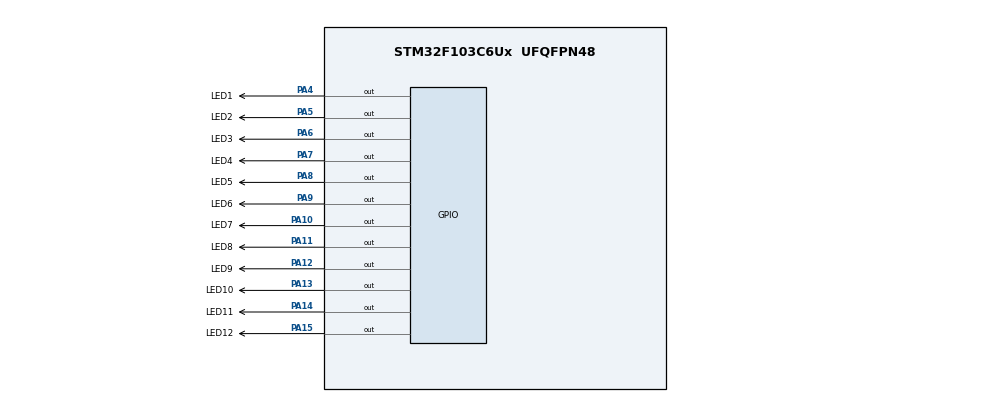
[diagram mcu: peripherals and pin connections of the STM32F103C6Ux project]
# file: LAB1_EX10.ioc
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Mcu.Family=STM32F1
Mcu.Name=STM32F103C6Ux
Mcu.Package=UFQFPN48
NVIC.PriorityGroup=NVIC_PRIORITYGROUP_4
PA10.GPIO_Label=LED7
PA10.Signal=GPIO_Output
PA11.GPIO_Label=LED8
PA11.Signal=GPIO_Output
PA12.GPIO_Label=LED9
PA12.Signal=GPIO_Output
PA13.GPIO_Label=LED10
PA13.Signal=GPIO_Output
PA14.GPIO_Label=LED11
PA14.Signal=GPIO_Output
PA15.GPIO_Label=LED12
PA15.Signal=GPIO_Output
PA4.GPIO_Label=LED1
PA4.Signal=GPIO_Output
PA5.GPIO_Label=LED2
PA5.Signal=GPIO_Output
PA6.GPIO_Label=LED3
PA6.Signal=GPIO_Output
PA7.GPIO_Label=LED4
PA7.Signal=GPIO_Output
PA8.GPIO_Label=LED5
PA8.Signal=GPIO_Output
PA9.GPIO_Label=LED6
PA9.Signal=GPIO_Output
ProjectManager.HeapSize=0x200
ProjectManager.StackSize=0x400
ProjectManager.TargetToolchain=STM32CubeIDE
RCC.APB1Freq_Value=8000000
RCC.APB2Freq_Value=8000000
VP_SYS_VS_ND.Mode=No_Debug
board=custom

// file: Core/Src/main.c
/* USER CODE BEGIN Header */
/**
  ******************************************************************************
  * @file           : main.c
  * @brief          : Main program body
  ******************************************************************************
  * @attention
  *
  * <h2><center>&copy; Copyright (c) 2024 STMicroelectronics.
  * All rights reserved.</center></h2>
  *
  * This software component is licensed by ST under BSD 3-Clause license,
  * the "License"; You may not use this file except in compliance with the
  * License. You may obtain a copy of the License at:
  *                        opensource.org/licenses/BSD-3-Clause
  *
  ******************************************************************************
  */
/* USER CODE END Header */
#include "main.h"

void SystemClock_Config(void);
static void MX_GPIO_Init(void);

int main(void)
{

  /* MCU Configuration--------------------------------------------------------*/

  /* Reset of all peripherals, Initializes the Flash interface and the Systick. */
  HAL_Init();

  /* Configure the system clock */
  SystemClock_Config();

  /* Initialize all configured peripherals */
  MX_GPIO_Init();

  /* Infinite loop */
  /* USER CODE BEGIN WHILE */
	int sec = 0;
	int min = 0;
	int hour = 0;

	void setNumberOnClock(int num) {
		if (num < 0 && num > 11)
			return;
		if (num == 1)
			HAL_GPIO_WritePin(LED1_GPIO_Port, LED1_Pin, SET);
		if (num == 2)
			HAL_GPIO_WritePin(LED2_GPIO_Port, LED2_Pin, SET);
		if (num == 3)
			HAL_GPIO_WritePin(LED3_GPIO_Port, LED3_Pin, SET);
		if (num == 4)
			HAL_GPIO_WritePin(LED4_GPIO_Port, LED4_Pin, SET);
		if (num == 5)
			HAL_GPIO_WritePin(LED5_GPIO_Port, LED5_Pin, SET);
		if (num == 6)
			HAL_GPIO_WritePin(LED6_GPIO_Port, LED6_Pin, SET);
		if (num == 7)
			HAL_GPIO_WritePin(LED7_GPIO_Port, LED7_Pin, SET);
		if (num == 8)
			HAL_GPIO_WritePin(LED8_GPIO_Port, LED8_Pin, SET);
		if (num == 9)
			HAL_GPIO_WritePin(LED9_GPIO_Port, LED9_Pin, SET);
		if (num == 10)
			HAL_GPIO_WritePin(LED10_GPIO_Port, LED10_Pin, SET);
		if (num == 11)
			HAL_GPIO_WritePin(LED11_GPIO_Port, LED11_Pin, SET);
		if (num == 0)
			HAL_GPIO_WritePin(LED12_GPIO_Port, LED12_Pin, SET);
	}

	void clearNumberOnClock(int num) {
		if (num < 0 && num > 12)
			return;
		if (num == 2)
			HAL_GPIO_WritePin(LED1_GPIO_Port, LED1_Pin, RESET);
		if (num == 3)
			HAL_GPIO_WritePin(LED2_GPIO_Port, LED2_Pin, RESET);
		if (num == 4)
			HAL_GPIO_WritePin(LED3_GPIO_Port, LED3_Pin, RESET);
		if (num == 5)
			HAL_GPIO_WritePin(LED4_GPIO_Port, LED4_Pin, RESET);
		if (num == 6)
			HAL_GPIO_WritePin(LED5_GPIO_Port, LED5_Pin, RESET);
		if (num == 7)
			HAL_GPIO_WritePin(LED6_GPIO_Port, LED6_Pin, RESET);
		if (num == 8)
			HAL_GPIO_WritePin(LED7_GPIO_Port, LED7_Pin, RESET);
		if (num == 9)
			HAL_GPIO_WritePin(LED8_GPIO_Port, LED8_Pin, RESET);
		if (num == 10)
			HAL_GPIO_WritePin(LED9_GPIO_Port, LED9_Pin, RESET);
		if (num == 11)
			HAL_GPIO_WritePin(LED10_GPIO_Port, LED10_Pin, RESET);
		if (num == 0)
			HAL_GPIO_WritePin(LED11_GPIO_Port, LED11_Pin, RESET);
		if (num == 1)
			HAL_GPIO_WritePin(LED12_GPIO_Port, LED12_Pin, RESET);
	}

  while (1)
  {
		if (hour >= 0 && hour < 13) {
			if (min >= 0 && min < 60) {
				if (sec >= 0 && sec < 60) {
					setNumberOnClock(sec / 5);
					clearNumberOnClock(sec / 5);
					sec++;
					setNumberOnClock(min / 5);
					setNumberOnClock(hour);
				} else {
					sec = 0;
					min++;
				}
			} else {
				min = 0;
				hour++;
			}
		} else {
			hour = 0;
		}
		HAL_Delay(500);

    /* USER CODE END WHILE */

  }
}

void SystemClock_Config(void)
{
  RCC_OscInitTypeDef RCC_OscInitStruct = {0};
  RCC_ClkInitTypeDef RCC_ClkInitStruct = {0};

  /** Initializes the RCC Oscillators according to the specified parameters
  * in the RCC_OscInitTypeDef structure.
  */
  RCC_OscInitStruct.OscillatorType = RCC_OSCILLATORTYPE_HSI;
  RCC_OscInitStruct.HSIState = RCC_HSI_ON;
  RCC_OscInitStruct.HSICalibrationValue = RCC_HSICALIBRATION_DEFAULT;
  RCC_OscInitStruct.PLL.PLLState = RCC_PLL_NONE;
  if (HAL_RCC_OscConfig(&RCC_OscInitStruct) != HAL_OK)
  {
    Error_Handler();
  }
  /** Initializes the CPU, AHB and APB buses clocks
  */
  RCC_ClkInitStruct.ClockType = RCC_CLOCKTYPE_HCLK|RCC_CLOCKTYPE_SYSCLK
                              |RCC_CLOCKTYPE_PCLK1|RCC_CLOCKTYPE_PCLK2;
  RCC_ClkInitStruct.SYSCLKSource = RCC_SYSCLKSOURCE_HSI;
  RCC_ClkInitStruct.AHBCLKDivider = RCC_SYSCLK_DIV1;
  RCC_ClkInitStruct.APB1CLKDivider = RCC_HCLK_DIV1;
  RCC_ClkInitStruct.APB2CLKDivider = RCC_HCLK_DIV1;

  if (HAL_RCC_ClockConfig(&RCC_ClkInitStruct, FLASH_LATENCY_0) != HAL_OK)
  {
    Error_Handler();
  }
}

static void MX_GPIO_Init(void)
{
  GPIO_InitTypeDef GPIO_InitStruct = {0};

  /* GPIO Ports Clock Enable */
  __HAL_RCC_GPIOA_CLK_ENABLE();

  /*Configure GPIO pin Output Level */
  HAL_GPIO_WritePin(GPIOA, LED1_Pin|LED2_Pin|LED3_Pin|LED4_Pin
                          |LED5_Pin|LED6_Pin|LED7_Pin|LED8_Pin
                          |LED9_Pin|LED10_Pin|LED11_Pin|LED12_Pin, GPIO_PIN_RESET);

  /*Configure GPIO pins : LED1_Pin LED2_Pin LED3_Pin LED4_Pin
                           LED5_Pin LED6_Pin LED7_Pin LED8_Pin
                           LED9_Pin LED10_Pin LED11_Pin LED12_Pin */
  GPIO_InitStruct.Pin = LED1_Pin|LED2_Pin|LED3_Pin|LED4_Pin
                          |LED5_Pin|LED6_Pin|LED7_Pin|LED8_Pin
                          |LED9_Pin|LED10_Pin|LED11_Pin|LED12_Pin;
  GPIO_InitStruct.Mode = GPIO_MODE_OUTPUT_PP;
  GPIO_InitStruct.Pull = GPIO_NOPULL;
  GPIO_InitStruct.Speed = GPIO_SPEED_FREQ_LOW;
  HAL_GPIO_Init(GPIOA, &GPIO_InitStruct);

}

void Error_Handler(void)
{
  __disable_irq();
  while (1)
  {
  }
}

/************************ (C) COPYRIGHT STMicroelectronics *****END OF FILE****/
